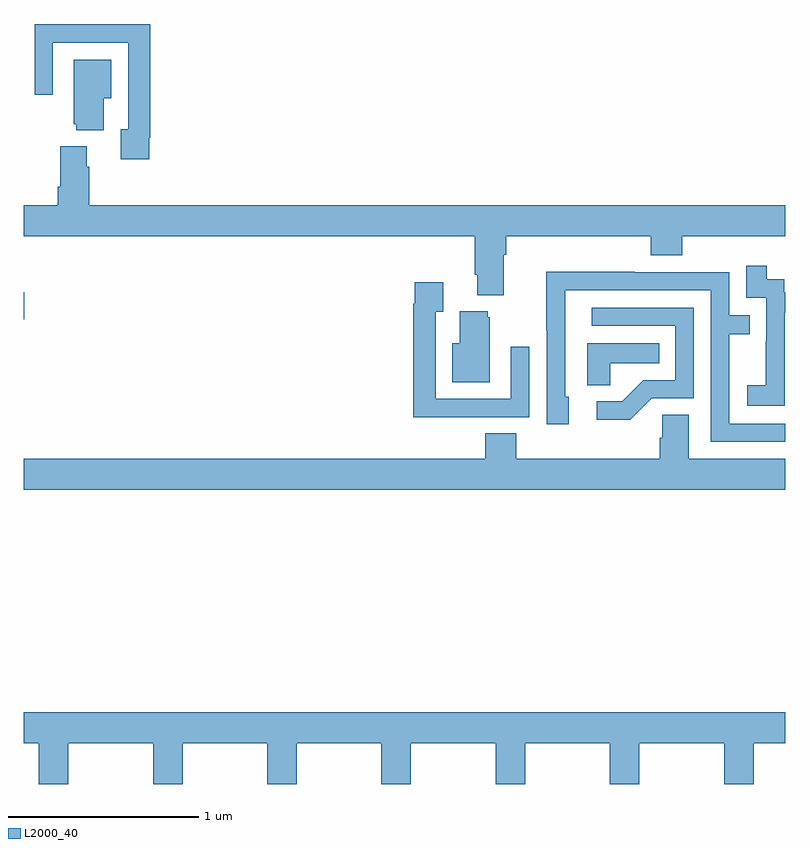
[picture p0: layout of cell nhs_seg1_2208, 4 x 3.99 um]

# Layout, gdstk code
import gdstk
lib = gdstk.Library(unit=1e-6, precision=1e-09)
def R(c, l, rs):  # rectangles x0, y0, x1, y1
    for r in rs: c.add(gdstk.rectangle(r[:2], r[2:], *l))
def P(c, l, *ps):  # polygons
    for p in ps: c.add(gdstk.Polygon(p, *l))
L2000_40 = (2000, 40)

nhs_seg1_2208 = lib.new_cell('nhs_seg1_2208')
R(nhs_seg1_2208, L2000_40, [(231,540.641,231.001,540.783)])
P(nhs_seg1_2208, L2000_40, [(231.658,541.594),(231.665,541.594),(231.665,542.192),(231.373,542.192),(231.373,542.19),(231.057,542.19),(231.057,541.821),(231.153,541.821),(231.153,542.094),(231.549,542.094),(231.549,541.638),(231.509,541.638),(231.509,541.482),(231.658,541.482)],
  [(231.421,541.802),(231.46,541.802),(231.46,542.005),(231.263,542.005),(231.263,541.665),(231.275,541.665),(231.275,541.634),(231.421,541.634)],
  [(233.521,540.98),(233.534,540.98),(233.534,541.076),(234.293,541.076),(234.293,540.977),(234.458,540.977),(234.458,541.076),(235,541.076),(235,541.24),(231.344,541.24),(231.344,541.442),(231.331,541.442),(231.331,541.549),(231.191,541.549),(231.191,541.336),(231.179,541.336),(231.179,541.24),(231,541.24),(231,541.076),(233.369,541.076),(233.369,540.874),(233.381,540.874),(233.381,540.767),(233.521,540.767)],
  [(234.999,540.391),(234.998,540.391),(234.998,540.675),(235,540.675),(235,540.783),(234.996,540.783),(234.996,540.852),(234.904,540.852),(234.904,540.922),(234.795,540.922),(234.795,540.753),(234.9,540.753),(234.9,540.524),(234.899,540.524),(234.899,540.295),(234.801,540.295),(234.801,540.185),(234.999,540.185)],
  [(235,540.093),(234.705,540.093),(234.705,540.562),(234.815,540.562),(234.815,540.663),(234.705,540.663),(234.705,540.888),(234.209,540.888),(234.209,540.89),(233.746,540.89),(233.746,540.583),(233.748,540.583),(233.748,540.09),(233.863,540.09),(233.863,540.234),(233.844,540.234),(233.844,540.792),(234.609,540.792),(234.609,539.997),(235,539.997)],
  [(233.339,540.126),(233.655,540.126),(233.655,540.496),(233.559,540.496),(233.559,540.222),(233.163,540.222),(233.163,540.679),(233.203,540.679),(233.203,540.835),(233.055,540.835),(233.055,540.722),(233.047,540.722),(233.047,540.125),(233.339,540.125)],
  [(234.3,540.225),(234.519,540.225),(234.519,540.702),(233.985,540.702),(233.985,540.606),(234.423,540.606),(234.423,540.321),(234.254,540.321),(234.143,540.21),(234.009,540.21),(234.009,540.113),(234.187,540.113)],
  [(233.449,540.651),(233.438,540.651),(233.438,540.682),(233.291,540.682),(233.291,540.514),(233.252,540.514),(233.252,540.311),(233.449,540.311)],
  [(234.081,540.41),(234.338,540.41),(234.338,540.514),(233.96,540.514),(233.96,540.295),(234.081,540.295)],
  [(235,539.908),(234.493,539.908),(234.493,540.14),(234.354,540.14),(234.354,540.017),(234.341,540.017),(234.341,539.908),(233.588,539.908),(233.588,540.041),(233.423,540.041),(233.423,539.908),(231,539.908),(231,539.744),(235,539.744)],
  [(231,538.412),(231.079,538.412),(231.079,538.199),(231.234,538.199),(231.234,538.412),(231.679,538.412),(231.679,538.199),(231.834,538.199),(231.834,538.412),(232.279,538.412),(232.279,538.199),(232.434,538.199),(232.434,538.412),(232.879,538.412),(232.879,538.199),(233.034,538.199),(233.034,538.412),(233.479,538.412),(233.479,538.199),(233.634,538.199),(233.634,538.412),(234.079,538.412),(234.079,538.199),(234.234,538.199),(234.234,538.412),(234.679,538.412),(234.679,538.199),(234.834,538.199),(234.834,538.412),(235,538.412),(235,538.576),(231,538.576)])

lib.write_gds('nhs_seg1_2208.gds')
